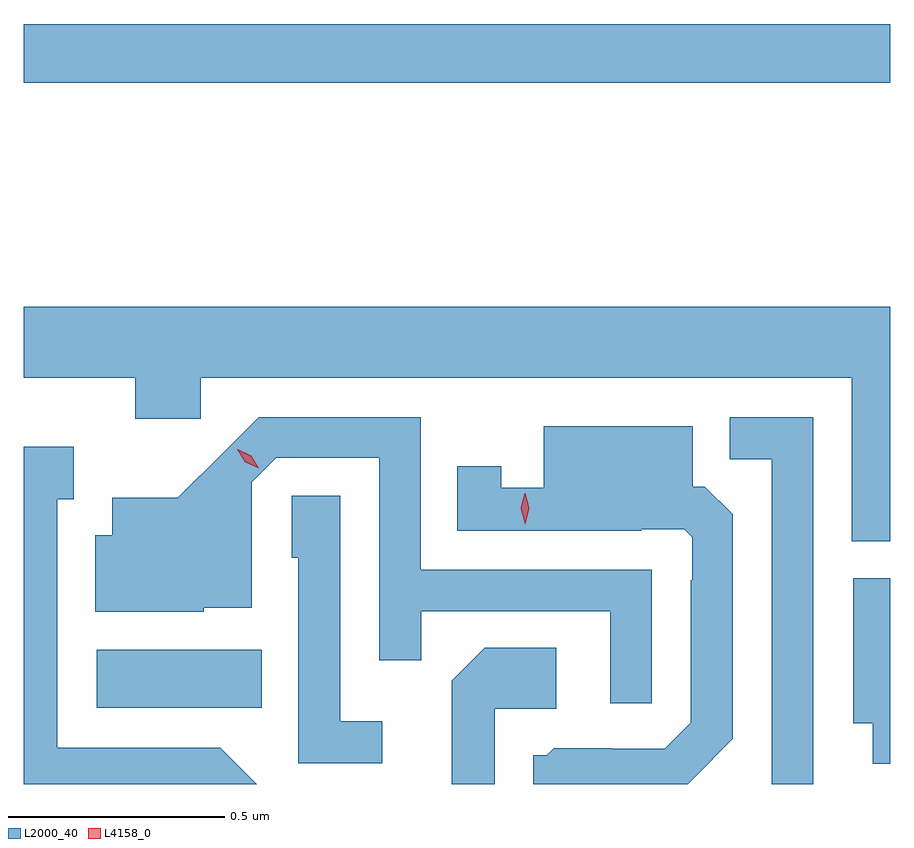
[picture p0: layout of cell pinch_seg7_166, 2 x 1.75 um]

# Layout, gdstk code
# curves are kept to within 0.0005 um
import gdstk
lib = gdstk.Library(unit=1e-6, precision=1e-09)
def R(c, l, rs):  # rectangles x0, y0, x1, y1
    for r in rs: c.add(gdstk.rectangle(r[:2], r[2:], *l))
def P(c, l, *ps):  # polygons
    for p in ps: c.add(gdstk.Polygon(p, *l))
L2000_40 = (2000, 40)
L4158_0 = (4158, 0)

pinch_seg7_166 = lib.new_cell('pinch_seg7_166')
R(pinch_seg7_166, L2000_40, [(1048.242,1038.482,1048.622,1038.616), (1048.073,1039.924,1050.073,1040.06)])
P(pinch_seg7_166, L2000_40, [(1050.073,1039.408),(1048.073,1039.408),(1048.073,1039.244),(1048.331,1039.244),(1048.331,1039.149),(1048.482,1039.149),(1048.482,1039.244),(1049.984,1039.244),(1049.984,1038.866),(1050.073,1038.866)],
  [(1049.523,1038.801),(1048.989,1038.801),(1048.989,1039.152),(1048.616,1039.152),(1048.429,1038.967),(1048.277,1038.967),(1048.277,1038.88),(1048.238,1038.88),(1048.238,1038.704),(1048.488,1038.704),(1048.488,1038.713),(1048.599,1038.713),(1048.599,1039.002),(1048.656,1039.059),(1048.893,1039.059),(1048.893,1038.592),(1048.991,1038.592),(1048.991,1038.705),(1049.427,1038.705),(1049.427,1038.492),(1049.523,1038.492)],
  [(1049.895,1039.152),(1049.702,1039.152),(1049.702,1039.056),(1049.799,1039.056),(1049.799,1038.306),(1049.895,1038.306)],
  [(1049.617,1038.317),(1049.709,1038.41),(1049.709,1038.928),(1049.645,1038.992),(1049.617,1038.992),(1049.617,1039.132),(1049.273,1039.132),(1049.273,1038.99),(1049.175,1038.99),(1049.175,1039.039),(1049.074,1039.039),(1049.074,1038.891),(1049.498,1038.891),(1049.498,1038.894),(1049.598,1038.894),(1049.616,1038.876),(1049.616,1038.776),(1049.613,1038.776),(1049.613,1038.447),(1049.553,1038.387),(1049.43,1038.387),(1049.43,1038.388),(1049.296,1038.388),(1049.28,1038.372),(1049.249,1038.372),(1049.249,1038.306),(1049.606,1038.306)],
  [(1048.527,1038.39),(1048.15,1038.39),(1048.15,1038.963),(1048.189,1038.963),(1048.189,1039.084),(1048.073,1039.084),(1048.073,1038.306),(1048.611,1038.306)],
  [(1048.9,1038.451),(1048.803,1038.451),(1048.803,1038.971),(1048.692,1038.971),(1048.692,1038.828),(1048.707,1038.828),(1048.707,1038.354),(1048.9,1038.354)],
  [(1050.073,1038.781),(1049.987,1038.781),(1049.987,1038.446),(1050.032,1038.446),(1050.032,1038.353),(1050.073,1038.353)],
  [(1049.16,1038.48),(1049.302,1038.48),(1049.302,1038.62),(1049.137,1038.62),(1049.061,1038.544),(1049.061,1038.306),(1049.16,1038.306)])
P(pinch_seg7_166, L4158_0, [(1049.23,1038.906),(1049.22,1038.942),(1049.229,1038.977),(1049.23,1038.977),(1049.23,1038.977),(1049.24,1038.942),(1049.231,1038.906),(1049.231,1038.906)],
  [(1048.615,1039.035),(1048.584,1039.049),(1048.566,1039.079),(1048.566,1039.079),(1048.567,1039.079),(1048.598,1039.064),(1048.615,1039.035),(1048.615,1039.035)])

lib.write_gds('pinch_seg7_166.gds')
